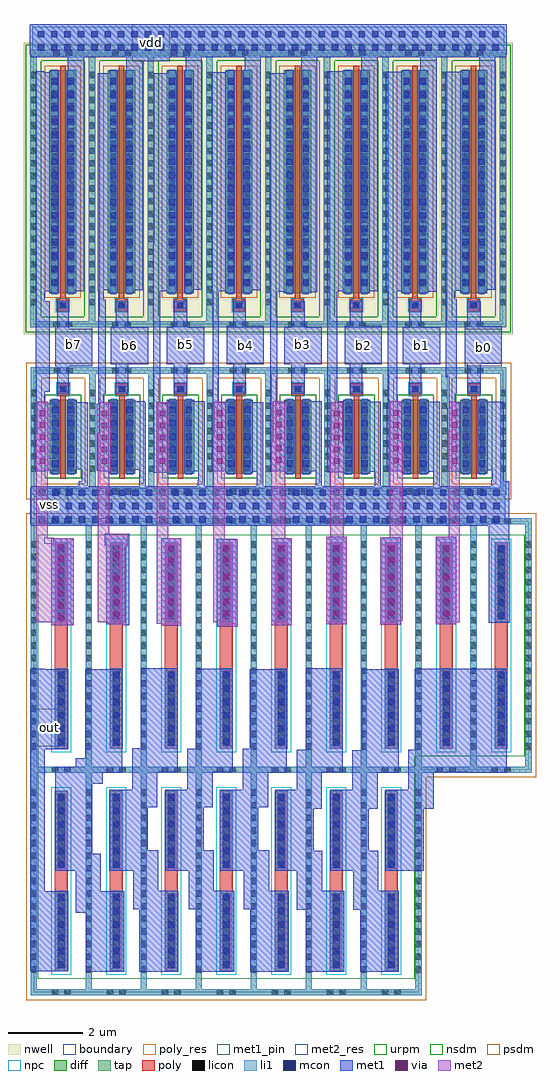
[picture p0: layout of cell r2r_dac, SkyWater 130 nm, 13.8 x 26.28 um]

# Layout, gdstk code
from math import pi, radians
import gdstk
lib = gdstk.Library(unit=1e-6, precision=1e-09)
def R(c, l, rs):  # rectangles x0, y0, x1, y1
    for r in rs: c.add(gdstk.rectangle(r[:2], r[2:], *l))
def A(c, l, x, y, w, h, nx, ny, dx, dy):  # array of equal rectangles
    R(c, l, [(x+i*dx, y+j*dy, x+i*dx+w, y+j*dy+h) for i in range(nx) for j in range(ny)])
nwell = (64, 20)
diff = (65, 20)
tap = (65, 44)
poly_res = (66, 13)
poly = (66, 20)
licon = (66, 44)
li1 = (67, 20)
mcon = (67, 44)
met1_pin = (68, 16)
met1 = (68, 20)
via = (68, 44)
met2_res = (69, 13)
met2 = (69, 20)
urpm = (79, 20)
nsdm = (93, 44)
psdm = (94, 20)
npc = (95, 20)
boundary = (235, 4)

sky130_fd_pr__res_xhigh_ = lib.new_cell('sky130_fd_pr__res_xhigh_po_0p35_MGD972')
R(sky130_fd_pr__res_xhigh_, tap, [(-0.825,-3.08,0.825,-2.91), (-0.825,-2.91,-0.655,2.91), (0.655,-2.91,0.825,2.91), (-0.825,2.91,0.825,3.08)])
R(sky130_fd_pr__res_xhigh_, poly_res, [(-0.175,-0.35,0.175,0.35)])
R(sky130_fd_pr__res_xhigh_, poly, [(-0.175,-2.43,0.175,2.43)])
A(sky130_fd_pr__res_xhigh_, licon, -0.825, -2.465, 0.17, 0.17, 1, 15, 0, 0.34)
A(sky130_fd_pr__res_xhigh_, licon, 0.655, -2.465, 0.17, 0.17, 1, 15, 0, 0.34)
R(sky130_fd_pr__res_xhigh_, licon, [(-0.255,-3.08,-0.085,-2.91), (0.085,-3.08,0.255,-2.91), (-0.095,-2.35,0.095,-0.35), (-0.095,0.35,0.095,2.35), (-0.255,2.91,-0.085,3.08), (0.085,2.91,0.255,3.08)])
R(sky130_fd_pr__res_xhigh_, li1, [(-0.825,-3.08,0.825,-2.91), (-0.825,-2.91,-0.655,2.91), (0.655,-2.91,0.825,2.91), (-0.175,-2.43,0.175,-0.27), (-0.175,0.27,0.175,2.43), (-0.825,2.91,0.825,3.08)])
A(sky130_fd_pr__res_xhigh_, mcon, -0.085, -2.335, 0.17, 0.17, 1, 6, 0, 0.36)
A(sky130_fd_pr__res_xhigh_, mcon, -0.085, 0.36, 0.17, 0.17, 1, 6, 0, 0.36)
R(sky130_fd_pr__res_xhigh_, met1, [(-0.125,-2.4,0.125,-0.295), (-0.125,0.295,0.125,2.4)])
R(sky130_fd_pr__res_xhigh_, urpm, [(-0.635,-2.63,0.635,2.63)])
R(sky130_fd_pr__res_xhigh_, psdm, [(-0.95,-3.205,0.95,3.205)])
R(sky130_fd_pr__res_xhigh_, npc, [(-0.27,-2.525,0.27,2.525)])
R(sky130_fd_pr__res_xhigh_, boundary, [(-0.74,-2.995,0.74,2.995)])

c_sky130_fd_pr__res_xhigh_ = lib.new_cell('sky130_fd_pr__res_xhigh_po_0p35_ABVTW2')
R(c_sky130_fd_pr__res_xhigh_, tap, [(-0.825,-3.43,0.825,-3.26), (-0.825,-3.26,-0.655,3.26), (0.655,-3.26,0.825,3.26), (-0.825,3.26,0.825,3.43)])
R(c_sky130_fd_pr__res_xhigh_, poly_res, [(-0.175,-0.7,0.175,0.7)])
R(c_sky130_fd_pr__res_xhigh_, poly, [(-0.175,-2.78,0.175,2.78)])
A(c_sky130_fd_pr__res_xhigh_, licon, -0.825, -2.805, 0.17, 0.17, 1, 17, 0, 0.34)
A(c_sky130_fd_pr__res_xhigh_, licon, 0.655, -2.805, 0.17, 0.17, 1, 17, 0, 0.34)
R(c_sky130_fd_pr__res_xhigh_, licon, [(-0.255,-3.43,-0.085,-3.26), (0.085,-3.43,0.255,-3.26), (-0.095,-2.7,0.095,-0.7), (-0.095,0.7,0.095,2.7), (-0.255,3.26,-0.085,3.43), (0.085,3.26,0.255,3.43)])
R(c_sky130_fd_pr__res_xhigh_, li1, [(-0.825,-3.43,0.825,-3.26), (-0.825,-3.26,-0.655,3.26), (0.655,-3.26,0.825,3.26), (-0.175,-2.78,0.175,-0.62), (-0.175,0.62,0.175,2.78), (-0.825,3.26,0.825,3.43)])
A(c_sky130_fd_pr__res_xhigh_, mcon, -0.085, -2.685, 0.17, 0.17, 1, 6, 0, 0.36)
A(c_sky130_fd_pr__res_xhigh_, mcon, -0.085, 0.71, 0.17, 0.17, 1, 6, 0, 0.36)
R(c_sky130_fd_pr__res_xhigh_, met1, [(-0.125,-2.75,0.125,-0.645), (-0.125,0.645,0.125,2.75)])
R(c_sky130_fd_pr__res_xhigh_, urpm, [(-0.635,-2.98,0.635,2.98)])
R(c_sky130_fd_pr__res_xhigh_, psdm, [(-0.95,-3.555,0.95,3.555)])
R(c_sky130_fd_pr__res_xhigh_, npc, [(-0.27,-2.875,0.27,2.875)])
R(c_sky130_fd_pr__res_xhigh_, boundary, [(-0.74,-3.345,0.74,3.345)])

sky130_fd_pr__nfet_01v8_ = lib.new_cell('sky130_fd_pr__nfet_01v8_ATMSL9')
R(sky130_fd_pr__nfet_01v8_, diff, [(-0.365,-1.155,0.365,0.845)])
R(sky130_fd_pr__nfet_01v8_, tap, [(-0.875,-1.715,0.875,-1.545), (-0.875,-1.545,-0.705,1.545), (0.705,-1.545,0.875,1.545), (-0.875,1.545,0.875,1.715)])
R(sky130_fd_pr__nfet_01v8_, poly, [(-0.075,-1.285,0.075,0.955), (-0.165,0.955,0.165,1.285)])
A(sky130_fd_pr__nfet_01v8_, licon, -0.875, -1.105, 0.17, 0.17, 1, 7, 0, 0.34)
A(sky130_fd_pr__nfet_01v8_, licon, 0.705, -1.105, 0.17, 0.17, 1, 7, 0, 0.34)
A(sky130_fd_pr__nfet_01v8_, licon, -0.305, -1.09, 0.17, 0.17, 1, 6, 0, 0.34)
A(sky130_fd_pr__nfet_01v8_, licon, 0.135, -1.09, 0.17, 0.17, 1, 6, 0, 0.34)
R(sky130_fd_pr__nfet_01v8_, licon, [(-0.255,-1.715,-0.085,-1.545), (0.085,-1.715,0.255,-1.545), (-0.085,1.035,0.085,1.205), (-0.255,1.545,-0.085,1.715), (0.085,1.545,0.255,1.715)])
R(sky130_fd_pr__nfet_01v8_, li1, [(-0.875,-1.715,0.875,-1.545), (-0.875,-1.545,-0.705,1.545), (0.705,-1.545,0.875,1.545), (-0.305,-1.175,-0.135,0.865), (0.135,-1.175,0.305,0.865), (-0.165,1.035,0.165,1.205), (-0.875,1.545,0.875,1.715)])
A(sky130_fd_pr__nfet_01v8_, mcon, -0.305, -0.96, 0.17, 0.17, 1, 5, 0, 0.36)
A(sky130_fd_pr__nfet_01v8_, mcon, 0.135, -0.96, 0.17, 0.17, 1, 5, 0, 0.36)
R(sky130_fd_pr__nfet_01v8_, mcon, [(-0.085,1.035,0.085,1.205)])
R(sky130_fd_pr__nfet_01v8_, met1, [(-0.335,-1.155,-0.105,0.845), (0.105,-1.155,0.335,0.845), (-0.145,1.005,0.145,1.235)])
R(sky130_fd_pr__nfet_01v8_, nsdm, [(-0.49,-1.28,0.49,0.97)])
R(sky130_fd_pr__nfet_01v8_, psdm, [(-1,-1.84,1,-1.42), (-1,-1.42,-0.58,1.42), (0.58,-1.42,1,1.42), (-1,1.42,1,1.84)])
R(sky130_fd_pr__nfet_01v8_, npc, [(-0.185,0.935,0.185,1.305)])
R(sky130_fd_pr__nfet_01v8_, boundary, [(-0.79,-1.63,0.79,1.63)])

sky130_fd_pr__pfet_01v8_ = lib.new_cell('sky130_fd_pr__pfet_01v8_MGA5KJ')
R(sky130_fd_pr__pfet_01v8_, nwell, [(-1.055,-3.92,1.055,3.92)])
R(sky130_fd_pr__pfet_01v8_, diff, [(-0.365,-3.18,0.365,2.82)])
R(sky130_fd_pr__pfet_01v8_, tap, [(-0.875,-3.74,0.875,-3.57), (-0.875,-3.57,-0.705,3.57), (0.705,-3.57,0.875,3.57), (-0.875,3.57,0.875,3.74)])
R(sky130_fd_pr__pfet_01v8_, poly, [(-0.075,-3.31,0.075,2.975), (-0.165,2.975,0.165,3.305)])
A(sky130_fd_pr__pfet_01v8_, licon, -0.875, -3.145, 0.17, 0.17, 1, 19, 0, 0.34)
A(sky130_fd_pr__pfet_01v8_, licon, 0.705, -3.145, 0.17, 0.17, 1, 19, 0, 0.34)
A(sky130_fd_pr__pfet_01v8_, licon, -0.305, -2.985, 0.17, 0.17, 1, 17, 0, 0.34)
A(sky130_fd_pr__pfet_01v8_, licon, 0.135, -2.985, 0.17, 0.17, 1, 17, 0, 0.34)
R(sky130_fd_pr__pfet_01v8_, licon, [(-0.255,-3.74,-0.085,-3.57), (0.085,-3.74,0.255,-3.57), (-0.085,3.055,0.085,3.225), (-0.255,3.57,-0.085,3.74), (0.085,3.57,0.255,3.74)])
R(sky130_fd_pr__pfet_01v8_, li1, [(-0.875,-3.74,0.875,-3.57), (-0.875,-3.57,-0.705,3.57), (0.705,-3.57,0.875,3.57), (-0.305,-3.2,-0.135,2.84), (0.135,-3.2,0.305,2.84), (-0.165,3.055,0.165,3.225), (-0.875,3.57,0.875,3.74)])
A(sky130_fd_pr__pfet_01v8_, mcon, -0.305, -2.965, 0.17, 0.17, 1, 16, 0, 0.36)
A(sky130_fd_pr__pfet_01v8_, mcon, 0.135, -2.965, 0.17, 0.17, 1, 16, 0, 0.36)
R(sky130_fd_pr__pfet_01v8_, mcon, [(-0.085,3.055,0.085,3.225)])
R(sky130_fd_pr__pfet_01v8_, met1, [(-0.335,-3.18,-0.105,2.82), (0.105,-3.18,0.335,2.82), (-0.145,3.025,0.145,3.255)])
R(sky130_fd_pr__pfet_01v8_, nsdm, [(-1,-3.865,1,-3.445), (-1,-3.445,-0.58,3.445), (0.58,-3.445,1,3.445), (-1,3.445,1,3.865)])
R(sky130_fd_pr__pfet_01v8_, psdm, [(-0.49,-3.305,0.49,2.945)])
R(sky130_fd_pr__pfet_01v8_, npc, [(-0.185,2.955,0.185,3.325)])
R(sky130_fd_pr__pfet_01v8_, boundary, [(-0.79,-3.655,0.79,3.655)])

c_sky130_fd_pr__pfet_01v8_ = lib.new_cell('sky130_fd_pr__pfet_01v8_LGA5KQ')
R(c_sky130_fd_pr__pfet_01v8_, nwell, [(-1.055,-3.92,1.055,3.92)])
R(c_sky130_fd_pr__pfet_01v8_, diff, [(-0.365,-2.82,0.365,3.18)])
R(c_sky130_fd_pr__pfet_01v8_, tap, [(-0.875,-3.74,0.875,-3.57), (-0.875,-3.57,-0.705,3.57), (0.705,-3.57,0.875,3.57), (-0.875,3.57,0.875,3.74)])
R(c_sky130_fd_pr__pfet_01v8_, poly, [(-0.165,-3.305,0.165,-2.975), (-0.075,-2.975,0.075,3.31)])
A(c_sky130_fd_pr__pfet_01v8_, licon, -0.875, -3.145, 0.17, 0.17, 1, 19, 0, 0.34)
A(c_sky130_fd_pr__pfet_01v8_, licon, 0.705, -3.145, 0.17, 0.17, 1, 19, 0, 0.34)
A(c_sky130_fd_pr__pfet_01v8_, licon, -0.305, -2.625, 0.17, 0.17, 1, 17, 0, 0.34)
A(c_sky130_fd_pr__pfet_01v8_, licon, 0.135, -2.625, 0.17, 0.17, 1, 17, 0, 0.34)
R(c_sky130_fd_pr__pfet_01v8_, licon, [(-0.255,-3.74,-0.085,-3.57), (0.085,-3.74,0.255,-3.57), (-0.085,-3.225,0.085,-3.055), (-0.255,3.57,-0.085,3.74), (0.085,3.57,0.255,3.74)])
R(c_sky130_fd_pr__pfet_01v8_, li1, [(-0.875,-3.74,0.875,-3.57), (-0.875,-3.57,-0.705,3.57), (0.705,-3.57,0.875,3.57), (-0.165,-3.225,0.165,-3.055), (-0.305,-2.84,-0.135,3.2), (0.135,-2.84,0.305,3.2), (-0.875,3.57,0.875,3.74)])
A(c_sky130_fd_pr__pfet_01v8_, mcon, -0.305, -2.605, 0.17, 0.17, 1, 16, 0, 0.36)
A(c_sky130_fd_pr__pfet_01v8_, mcon, 0.135, -2.605, 0.17, 0.17, 1, 16, 0, 0.36)
R(c_sky130_fd_pr__pfet_01v8_, mcon, [(-0.085,-3.225,0.085,-3.055)])
R(c_sky130_fd_pr__pfet_01v8_, met1, [(-0.145,-3.255,0.145,-3.025), (-0.335,-2.82,-0.105,3.18), (0.105,-2.82,0.335,3.18)])
R(c_sky130_fd_pr__pfet_01v8_, nsdm, [(-1,-3.865,1,-3.445), (-1,-3.445,-0.58,3.445), (0.58,-3.445,1,3.445), (-1,3.445,1,3.865)])
R(c_sky130_fd_pr__pfet_01v8_, psdm, [(-0.49,-2.945,0.49,3.305)])
R(c_sky130_fd_pr__pfet_01v8_, npc, [(-0.185,-3.325,0.185,-2.955)])
R(c_sky130_fd_pr__pfet_01v8_, boundary, [(-0.79,-3.655,0.79,3.655)])

r2r_dac = lib.new_cell('r2r_dac')
R(r2r_dac, tap, [(6.68,-21.1,7,-20.95), (6.68,-20.95,6.84,-14.43)])
R(r2r_dac, li1, [(6.68,-21.1,7,-20.95), (6.68,-20.95,6.84,-14.43), (5.27,-14.43,17.96,-13.44), (5.23,-1.85,17.94,-1.04)])
A(r2r_dac, mcon, 5.41, -14.385, 0.17, 0.17, 35, 3, 0.36, 0.36)
A(r2r_dac, mcon, 5.38, -1.68, 0.17, 0.17, 35, 2, 0.36, 0.36)
R(r2r_dac, met1_pin, [(5.2,-20.4,6.2,-19.4), (5.2,-14.4,6.2,-13.4), (16.87,-10.17,17.87,-9.17), (7.35,-10.12,8.35,-9.12), (10.47,-10.12,11.47,-9.12), (13.64,-10.12,14.64,-9.12), (15.21,-10.12,16.21,-9.12), (5.85,-10.1,6.85,-9.1), (8.86,-10.09,9.86,-9.09), (12.02,-10.09,13.02,-9.09), (7.93,-1.96,8.93,-0.96)])
R(r2r_dac, met1, [(8.12,-26.48,9.16,-24.79), (6.67,-26.47,7.71,-24.88), (9.63,-26.47,10.67,-24.79), (11.1,-26.47,12.14,-24.79), (12.59,-26.47,13.63,-24.8), (14.06,-26.47,15.1,-24.8), (5.18,-26.46,6.2,-24.31), (6.4,-24.88,7.71,-24.31), (12.36,-24.8,13.63,-24.29), (13.87,-24.8,15.1,-24.29), (7.95,-24.79,9.16,-24.3), (9.44,-24.79,10.67,-24.29), (10.93,-24.79,12.14,-24.29), (5.18,-24.31,5.57,-20.49), (6.4,-24.31,7.08,-23.75), (7.95,-24.3,8.63,-23.75), (9.44,-24.29,10.12,-23.75), (10.93,-24.29,11.61,-23.75), (12.36,-24.29,13.04,-23.75), (13.87,-24.29,14.55,-23.76), (13.25,-23.76,14.55,-23.22), (5.85,-23.75,7.08,-23.3), (7.3,-23.75,8.63,-23.21), (8.81,-23.75,10.12,-23.21), (10.28,-23.75,11.61,-23.21), (11.77,-23.75,13.04,-23.22), (14.73,-23.75,15.77,-22.08), (5.85,-23.3,6.85,-21.42), (11.77,-23.22,12.81,-22.08), (13.25,-23.22,14.29,-22.09), (7.3,-23.21,8.34,-22.04), (8.81,-23.21,9.85,-22.05), (10.28,-23.21,11.32,-22.05), (13.25,-22.09,14.53,-21.58), (11.77,-22.08,13.03,-21.57), (14.73,-22.08,16.04,-21.57), (8.81,-22.05,10.09,-21.57), (10.28,-22.05,11.58,-21.57), (7.3,-22.04,8.6,-21.57), (13.85,-21.58,14.53,-21.12), (7.92,-21.57,8.6,-21.1), (9.41,-21.57,10.09,-21.11), (10.9,-21.57,11.58,-21.12), (12.35,-21.57,13.03,-21.1), (15.36,-21.57,16.04,-21.11), (5.85,-21.42,7.13,-21.12), (5.85,-21.12,7.66,-20.96), (10.9,-21.12,12.09,-20.47), (13.85,-21.12,15.1,-20.51), (17.01,-21.12,18.01,-21.11), (9.41,-21.11,10.63,-20.47), (15.36,-21.11,18.01,-20.5), (7.92,-21.1,9.15,-20.46), (12.35,-21.1,13.59,-20.5), (6.41,-20.96,7.66,-20.73), (6.66,-20.73,7.66,-18.33), (14.1,-20.51,15.1,-18.33), (12.59,-20.5,13.59,-18.31), (15.53,-20.5,18.01,-18.33), (5.18,-20.49,6.2,-18.33), (9.63,-20.47,10.63,-18.32), (11.09,-20.47,12.09,-18.33), (8.15,-20.46,9.15,-18.31), (5.18,-18.33,5.57,-18.32), (15.53,-18.33,17.84,-18.32), (10.21,-17.18,10.76,-14.83), (8.7,-17.16,9.25,-14.81), (5.74,-17.15,6.35,-14.81), (7.68,-17.15,7.84,-17.12), (11.67,-17.15,12.22,-14.8), (14.6,-17.13,15.15,-14.78), (7.23,-17.12,7.84,-15), (13.15,-17.12,13.7,-14.77), (16.1,-17.12,16.65,-14.77), (17.52,-17.08,18.08,-17.07), (17.52,-17.07,18.09,-14.91), (7.18,-15,7.84,-14.68), (17.52,-14.91,18.08,-14.47), (5.2,-14.47,18.08,-14.43), (5.18,-14.43,18.08,-13.44), (5.2,-13.44,18.08,-13.41), (5.2,-13.41,6.2,-13.4), (6.48,-13.41,6.73,-13.27), (8.11,-13.41,8.29,-13.19), (9.69,-13.41,9.87,-13.24), (11.28,-13.41,11.45,-13.02), (12.86,-13.41,13.03,-13), (14.46,-13.41,14.62,-13.01), (16.03,-13.41,16.2,-13.02), (17.59,-13.41,18.08,-13.27), (6.56,-13.27,6.73,-12.95), (17.59,-13.27,17.92,-13.23), (9.7,-13.24,9.87,-13), (17.61,-13.23,17.92,-12.98), (8.12,-13.19,8.29,-12.96), (8.51,-13.04,9.09,-11.84), (13.18,-13.03,13.84,-11.11), (10.94,-13.02,11.45,-11.14), (15.67,-13.02,16.2,-11.13), (9.36,-13.01,9.53,-13), (14.11,-13.01,14.62,-11.13), (16.42,-13.01,17,-12.98), (17.26,-13.01,17.38,-12.98), (5.33,-13,5.56,-12.98), (6.21,-13,6.28,-12.95), (7.02,-13,7.52,-12.99), (7.79,-13,7.92,-12.96), (9.36,-13,9.87,-11.12), (10.1,-13,10.68,-12.98), (11.64,-13,12.24,-11.15), (12.52,-13,13.03,-11.12), (14.78,-13,15.41,-11.15), (6.97,-12.99,7.52,-11.24), (5.3,-12.98,5.93,-11.18), (10.07,-12.98,10.68,-11.18), (16.41,-12.98,17,-11.31), (17.26,-12.98,17.92,-11.13), (7.79,-12.96,8.29,-11.15), (6.21,-12.95,6.73,-11.14), (8.49,-11.84,9.09,-11.17), (16.44,-11.31,17,-11.16), (6.97,-11.24,7.51,-11.19), (7.01,-11.19,7.51,-11.18), (5.33,-11.18,5.93,-11.17), (7.01,-11.18,7.16,-10.92), (7.41,-11.18,7.51,-11.13), (10.09,-11.18,10.68,-11.14), (5.33,-11.17,5.57,-10.86), (8.49,-11.17,8.68,-8.16), (16.44,-11.16,16.62,-10.92), (16.83,-11.16,17,-11.14), (7.79,-11.15,8.26,-11.12), (11.64,-11.15,11.83,-8.17), (14.8,-11.15,15.06,-8.16), (10.09,-11.14,10.26,-8.16), (13.18,-11.11,13.44,-8.16), (7.01,-10.92,7.21,-8.39), (16.44,-10.92,16.66,-10.47), (9.04,-10.91,9.4,-10.12), (12.21,-10.91,12.57,-10.12), (13.78,-10.91,14.12,-10.09), (15.38,-10.91,15.71,-10.12), (16.95,-10.91,17.31,-10.1), (5.95,-10.9,6.22,-10.86), (10.64,-10.9,10.98,-10.09), (7.48,-10.89,7.82,-10.12), (5.33,-10.86,5.71,-8.43), (5.9,-10.86,6.22,-10.17), (16.36,-10.47,16.66,-8.37), (5.85,-10.17,6.85,-9.17), (7.35,-10.12,8.35,-9.12), (8.86,-10.12,9.86,-9.12), (12.02,-10.12,13.02,-9.12), (15.21,-10.12,16.21,-9.12), (16.87,-10.1,17.87,-9.1), (10.47,-10.09,11.47,-9.09), (13.64,-10.09,14.64,-9.09), (5.9,-9.17,6.22,-8.44), (7.48,-9.12,7.82,-8.42), (9.04,-9.12,9.4,-8.41), (12.21,-9.12,12.57,-8.42), (15.38,-9.12,15.71,-8.42), (16.95,-9.1,17.31,-8.42), (10.64,-9.09,10.98,-8.42), (13.78,-9.09,14.12,-8.42), (5.33,-8.43,5.57,-8.15), (7.01,-8.39,7.16,-8.15), (16.36,-8.37,16.61,-8.16), (5.91,-8.2,5.92,-8.15), (12.47,-8.18,12.91,-1.85), (11.63,-8.17,12.24,-2.29), (15.68,-8.17,16.12,-1.85), (8.49,-8.16,9.12,-6.87), (10.07,-8.16,10.64,-2.26), (13.17,-8.16,13.84,-2.23), (14.75,-8.16,15.39,-2.25), (16.35,-8.16,16.61,-8.14), (16.85,-8.16,16.99,-8.14), (5.33,-8.15,5.92,-2.26), (6.19,-8.15,6.63,-1.85), (7,-8.15,7.16,-8.13), (7.37,-8.15,7.51,-8.13), (14.09,-8.15,14.53,-1.85), (16.35,-8.14,16.99,-2.25), (7,-8.13,7.51,-2.28), (7.77,-8.13,8.21,-1.96), (10.95,-8.13,11.39,-1.85), (9.36,-8.12,9.8,-1.85), (17.26,-8.12,17.7,-1.85), (8.51,-6.87,9.12,-2.28), (5.33,-2.26,5.56,-2.23), (7.77,-1.96,8.93,-1.85), (5.19,-1.85,18,-1.79), (5.17,-1.79,18.01,-0.98), (5.19,-0.98,18,-0.96)])
A(r2r_dac, via, 5.935, -17.025, 0.15, 0.15, 1, 7, 0, 0.32)
A(r2r_dac, via, 7.42, -16.92, 0.15, 0.15, 1, 4, 0, 0.32)
A(r2r_dac, via, 8.89, -16.895, 0.15, 0.15, 1, 4, 0, 0.32)
A(r2r_dac, via, 10.38, -16.89, 0.15, 0.15, 3, 4, 1.48, 0.32)
A(r2r_dac, via, 14.83, -16.89, 0.15, 0.15, 1, 4, 0, 0.32)
A(r2r_dac, via, 16.31, -16.89, 0.15, 0.15, 1, 4, 0, 0.32)
A(r2r_dac, via, 7.105, -12.805, 0.15, 0.15, 1, 5, 0, 0.32)
A(r2r_dac, via, 8.665, -12.805, 0.15, 0.15, 1, 5, 0, 0.32)
A(r2r_dac, via, 13.355, -12.805, 0.15, 0.15, 1, 5, 0, 0.32)
A(r2r_dac, via, 5.435, -12.795, 0.15, 0.15, 1, 5, 0, 0.32)
A(r2r_dac, via, 10.205, -12.795, 0.15, 0.15, 1, 5, 0, 0.32)
A(r2r_dac, via, 16.525, -12.795, 0.15, 0.15, 1, 5, 0, 0.32)
A(r2r_dac, via, 14.945, -12.785, 0.15, 0.15, 1, 5, 0, 0.32)
A(r2r_dac, via, 11.795, -12.775, 0.15, 0.15, 1, 5, 0, 0.32)
R(r2r_dac, via, [(8.885,-15.465,9.035,-15.315), (11.865,-15.465,12.015,-15.315), (13.355,-15.465,13.505,-15.315), (14.835,-15.465,14.985,-15.315), (16.295,-15.465,16.445,-15.315), (10.375,-15.455,10.525,-15.305), (7.425,-15.345,7.575,-15.195), (8.885,-15.145,9.035,-14.995), (11.865,-15.145,12.015,-14.995), (13.355,-15.145,13.505,-14.995), (14.835,-15.145,14.985,-14.995), (16.295,-15.145,16.445,-14.995), (10.375,-15.135,10.525,-14.985)])
R(r2r_dac, met2_res, [(5.56,-14.95,5.81,-14.79)])
R(r2r_dac, met2, [(10.21,-17.18,10.76,-17.07), (8.7,-17.16,9.25,-17.1), (5.74,-17.15,6.35,-17.06), (11.67,-17.15,12.22,-14.8), (14.6,-17.13,15.15,-17.03), (7.31,-17.12,7.68,-17.09), (13.15,-17.12,13.7,-14.77), (16.1,-17.12,16.65,-17.06), (8.58,-17.1,9.25,-14.81), (7.28,-17.09,7.73,-17.06), (10.1,-17.07,10.76,-14.83), (5.38,-17.06,6.35,-17.04), (7,-17.06,7.73,-15), (16.1,-17.06,16.74,-14.77), (5.34,-17.04,6.35,-14.81), (14.6,-17.03,15.21,-14.78), (7,-15,7.81,-14.68), (10.1,-14.83,10.41,-13.03), (5.34,-14.81,5.81,-14.79), (8.58,-14.81,8.89,-13.04), (11.67,-14.8,12.04,-12.22), (5.34,-14.79,5.65,-13.03), (14.86,-14.78,15.21,-12.19), (13.25,-14.77,13.62,-12.23), (16.44,-14.77,16.74,-11.88), (7,-14.68,7.31,-13.04), (7,-13.04,7.34,-12.02), (8.58,-13.04,8.9,-11.14), (5.34,-13.03,5.67,-12), (10.1,-13.03,10.44,-12.03), (13.27,-12.23,13.59,-11.14), (11.71,-12.22,12.03,-11.11), (14.86,-12.19,15.18,-11.12), (10.12,-12.03,10.44,-11.13), (7.02,-12.02,7.34,-11.14), (5.35,-12,5.67,-11.13), (16.46,-11.88,16.74,-11.13)])
A(r2r_dac, urpm, 6.65, -26.66, 0.21, 5.26, 6, 1, 1.48, 0)
A(r2r_dac, urpm, 6.65, -20.67, 0.21, 5.96, 8, 1, 1.48, 0)
R(r2r_dac, urpm, [(5.38,-21.4,15.53,-20.67)])
R(r2r_dac, psdm, [(6.555,-21.225,7.125,-20.825), (6.555,-20.825,6.965,-14.305)])
r2r_dac.add(gdstk.Reference(sky130_fd_pr__res_xhigh_, (7.495,-24.03)))
r2r_dac.add(gdstk.Reference(sky130_fd_pr__res_xhigh_, (6.015,-24.03)))
r2r_dac.add(gdstk.Reference(c_sky130_fd_pr__res_xhigh_, (6.015,-17.69)))
r2r_dac.add(gdstk.Reference(c_sky130_fd_pr__res_xhigh_, (7.495,-17.69)))
r2r_dac.add(gdstk.Reference(sky130_fd_pr__res_xhigh_, (8.975,-24.03)))
r2r_dac.add(gdstk.Reference(c_sky130_fd_pr__res_xhigh_, (8.975,-17.69)))
r2r_dac.add(gdstk.Reference(sky130_fd_pr__res_xhigh_, (11.935,-24.03)))
r2r_dac.add(gdstk.Reference(sky130_fd_pr__res_xhigh_, (10.455,-24.03)))
r2r_dac.add(gdstk.Reference(c_sky130_fd_pr__res_xhigh_, (11.935,-17.69)))
r2r_dac.add(gdstk.Reference(c_sky130_fd_pr__res_xhigh_, (10.455,-17.69)))
r2r_dac.add(gdstk.Reference(sky130_fd_pr__res_xhigh_, (13.415,-24.03)))
r2r_dac.add(gdstk.Reference(c_sky130_fd_pr__res_xhigh_, (13.415,-17.69)))
r2r_dac.add(gdstk.Reference(sky130_fd_pr__res_xhigh_, (14.895,-24.03)))
r2r_dac.add(gdstk.Reference(c_sky130_fd_pr__res_xhigh_, (16.375,-17.69), rotation=pi, x_reflection=True))
r2r_dac.add(gdstk.Reference(c_sky130_fd_pr__res_xhigh_, (14.895,-17.69)))
r2r_dac.add(gdstk.Reference(c_sky130_fd_pr__res_xhigh_, (17.855,-17.69)))
r2r_dac.add(gdstk.Reference(sky130_fd_pr__nfet_01v8_, (7.645,-11.915)))
r2r_dac.add(gdstk.Reference(sky130_fd_pr__nfet_01v8_, (6.065,-11.915)))
r2r_dac.add(gdstk.Reference(sky130_fd_pr__nfet_01v8_, (9.225,-11.915)))
r2r_dac.add(gdstk.Reference(sky130_fd_pr__nfet_01v8_, (12.385,-11.915)))
r2r_dac.add(gdstk.Reference(sky130_fd_pr__nfet_01v8_, (10.805,-11.915)))
r2r_dac.add(gdstk.Reference(sky130_fd_pr__nfet_01v8_, (13.965,-11.915)))
r2r_dac.add(gdstk.Reference(sky130_fd_pr__nfet_01v8_, (15.545,-11.915)))
r2r_dac.add(gdstk.Reference(sky130_fd_pr__nfet_01v8_, (17.125,-11.915)))
r2r_dac.add(gdstk.Reference(sky130_fd_pr__pfet_01v8_, (7.635,-5.39), rotation=pi))
r2r_dac.add(gdstk.Reference(c_sky130_fd_pr__pfet_01v8_, (6.055,-5.39)))
r2r_dac.add(gdstk.Reference(c_sky130_fd_pr__pfet_01v8_, (9.215,-5.39)))
r2r_dac.add(gdstk.Reference(c_sky130_fd_pr__pfet_01v8_, (12.375,-5.39)))
r2r_dac.add(gdstk.Reference(c_sky130_fd_pr__pfet_01v8_, (10.795,-5.39)))
r2r_dac.add(gdstk.Reference(c_sky130_fd_pr__pfet_01v8_, (13.955,-5.39)))
r2r_dac.add(gdstk.Reference(c_sky130_fd_pr__pfet_01v8_, (15.535,-5.39)))
r2r_dac.add(gdstk.Reference(c_sky130_fd_pr__pfet_01v8_, (17.115,-5.39)))
r2r_dac.add(gdstk.Label('out', (5.7,-19.9), layer=68, texttype=5))
r2r_dac.add(gdstk.Label('vdd', (8.43,-1.46), layer=68, texttype=5))
r2r_dac.add(gdstk.Label('b0', (17.37,-9.67), layer=68, texttype=5))
r2r_dac.add(gdstk.Label('b1', (15.71,-9.62), layer=68, texttype=5))
r2r_dac.add(gdstk.Label('b2', (14.14,-9.62), layer=68, texttype=5))
r2r_dac.add(gdstk.Label('b3', (12.52,-9.59), layer=68, texttype=5))
r2r_dac.add(gdstk.Label('b4', (10.97,-9.62), layer=68, texttype=5))
r2r_dac.add(gdstk.Label('b5', (9.36,-9.59), layer=68, texttype=5))
r2r_dac.add(gdstk.Label('b6', (7.85,-9.62), layer=68, texttype=5))
r2r_dac.add(gdstk.Label('b7', (6.35,-9.6), layer=68, texttype=5))
r2r_dac.add(gdstk.Label('vss', (5.7,-13.9), layer=68, texttype=5))

lib.write_gds('r2r_dac.gds')
